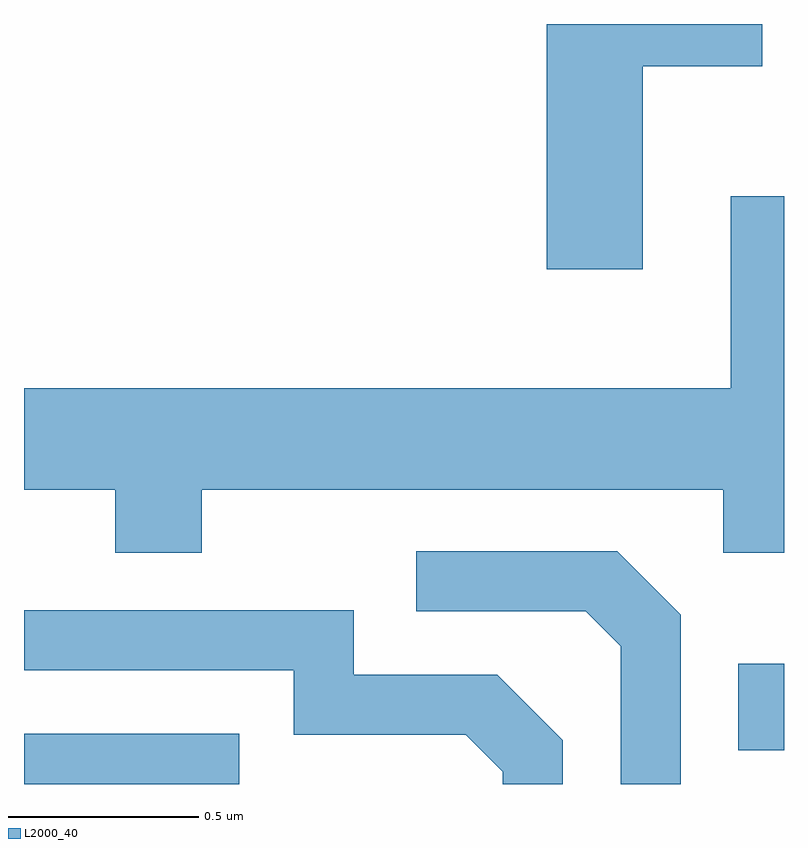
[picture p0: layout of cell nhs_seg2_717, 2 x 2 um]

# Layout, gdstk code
import gdstk
lib = gdstk.Library(unit=1e-6, precision=1e-09)
def R(c, l, rs):  # rectangles x0, y0, x1, y1
    for r in rs: c.add(gdstk.rectangle(r[:2], r[2:], *l))
def P(c, l, *ps):  # polygons
    for p in ps: c.add(gdstk.Polygon(p, *l))
L2000_40 = (2000, 40)

nhs_seg2_717 = lib.new_cell('nhs_seg2_717')
R(nhs_seg2_717, L2000_40, [(190.611,1009.802,191.178,1009.934), (192.491,1009.891,192.611,1010.119)])
P(nhs_seg2_717, L2000_40, [(192.239,1011.691),(192.554,1011.691),(192.554,1011.802),(191.986,1011.802),(191.986,1011.156),(192.239,1011.156)],
  [(191.079,1010.576),(192.451,1010.576),(192.451,1010.411),(192.611,1010.411),(192.611,1011.349),(192.471,1011.349),(192.471,1010.844),(190.611,1010.844),(190.611,1010.576),(190.851,1010.576),(190.851,1010.411),(191.079,1010.411)],
  [(192.339,1010.247),(192.172,1010.414),(191.643,1010.414),(191.643,1010.256),(192.089,1010.256),(192.181,1010.164),(192.181,1009.802),(192.339,1009.802)],
  [(192.029,1009.917),(191.857,1010.089),(191.479,1010.089),(191.479,1010.259),(190.611,1010.259),(190.611,1010.101),(191.321,1010.101),(191.321,1009.931),(191.774,1009.931),(191.871,1009.834),(191.871,1009.802),(192.029,1009.802)])

lib.write_gds('nhs_seg2_717.gds')
